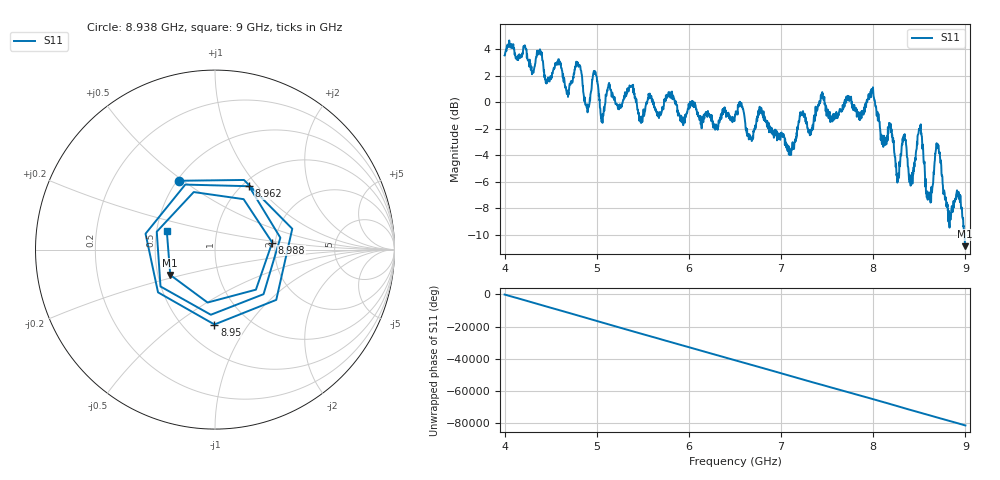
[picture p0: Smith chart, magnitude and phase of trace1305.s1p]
! Created with skrf 1.8.0 (http://scikit-rf.org).
# Hz S RI R 50.0
!freq ReS11 ImS11
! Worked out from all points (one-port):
!   1601 points, 4 GHz to 9 GHz, reference 50 ohm
!   lowest |S11| = -10.9 dB at 8.997 GHz (marker M1), VSWR 1.80, Z = 29 - j8.94 ohm
!   |S11| at or under -10 dB: 8.991388 GHz to end of sweep
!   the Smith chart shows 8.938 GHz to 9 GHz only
!   S11 on the Smith chart (normalised r, x): 8.938 GHz: 0.51, +0.48; 8.95 GHz: 0.70, -0.71; 8.962 GHz: 1.07, +0.90; 8.988 GHz: 1.93, +0.17; 9 GHz: 0.57, +0.13
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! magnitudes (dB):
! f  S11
! 4 GHz  3.5
! 4.625 GHz  2.4
! 5.25 GHz  -0.3
! 5.369 GHz  1.2
! 5.478 GHz  -1.5
! 5.875 GHz  -0.7
! 6.5 GHz  -1.1
! 7.125 GHz  -3.0
! 7.444 GHz  0.7
! 7.559 GHz  -1.4
! 7.75 GHz  0.4
! 7.988 GHz  0.9
! 8.106 GHz  -2.6
! 8.197 GHz  -2.0
! 8.256 GHz  -5.4
! 8.334 GHz  -2.5
! 8.375 GHz  -4.8
! 8.419 GHz  -5.7
! 8.506 GHz  -2.1
! 8.597 GHz  -7.1
! 8.697 GHz  -3.4
! 8.819 GHz  -8.2
! 8.938 GHz  -7.3
! 8.95 GHz  -7.6
! 8.962 GHz  -7.9
! 8.988 GHz  -9.9
! 8.997 GHz  -10.9
! 9 GHz  -10.8
